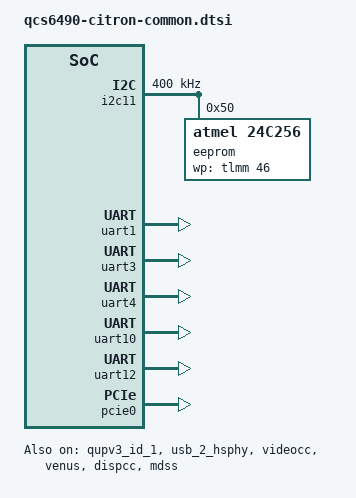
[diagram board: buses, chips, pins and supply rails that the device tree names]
// SPDX-License-Identifier: BSD-3-Clause
/*
 * Hardware and SoC enablement common to the Citron carriers, which derive from one
 * reference design. The SOM dtsi leaves everything off; this is what the carriers
 * turn on.
 */

/* GENI needs this to program any SE the bootloader left alone, else -EINVAL. */
&qupv3_id_1 {
	firmware-name = "qcom/qcs6490/qupv3fw.elf";
	status = "okay";
};

&i2c11 {
	clock-frequency = <400000>;
	status = "okay";

	eeprom@50 {
		compatible = "atmel,24c256";
		reg = <0x50>;
		pagesize = <64>;
		wp-gpios = <&tlmm 46 GPIO_ACTIVE_HIGH>;
		pinctrl-names = "default";
		pinctrl-0 = <&eeprom_wc_state>;
	};
};

/* Carrier UARTs: uart1 gpio4-7, uart3 12-15, uart4 16-19, uart10 40-43, uart12 48-51. */
&uart1 {
	status = "okay";
};

&uart3 {
	status = "okay";
};

&uart4 {
	status = "okay";
};

&uart10 {
	status = "okay";
};

/* gpio48-51 REQUIRE the matching XBL/TZ release, else gpiochip bringup hangs. */
&uart12 {
	status = "okay";
};

&pcie0 {
	perst-gpios = <&tlmm 86 GPIO_ACTIVE_LOW>;
	pinctrl-names = "default";
	pinctrl-0 = <&pcie0_reset_n>, <&pcie0_clkreq_n>;

	/*
	 * The stock one-endpoint map gives the NICs behind the switch SID 0x1c00 with
	 * no domain (SMMU TF faults), while per-device 0x1c02 aborts in
	 * qcom_smmu_write_s2cr(). The switch has no ACS so they share a group anyway:
	 * collapse every RID onto the known-good 0x1c00.
	 */
	iommu-map = <0x0 &apps_smmu 0x1c00 0x1>;
	iommu-map-mask = <0x0>;

	status = "okay";
};

/* No Type-C mux here and the SS lanes arrive at a fixed orientation. */
&usb_1_qmpphy {
	/delete-property/ orientation-switch;
};

&usb_2_hsphy {
	vdda-pll-supply = <&vreg_l10c_0p88>;
	vdda18-supply = <&vreg_l1c_1p8>;
	vdda33-supply = <&vreg_l2b_3p072>;
	status = "okay";
};

/* Venus HW codec: videocc is off on the SOM, the codec off in sc7280. */
&videocc {
	status = "okay";
};

&venus {
	status = "okay";
};

/*
 * DISP0 (DSI0). The panel comes from the board's *-panel-*.dtso when one is fitted;
 * dispcc/mdss stay on regardless so the DPU still registers a writeback-only card0,
 * which the GLES-only ML gst elements need. The pin states only hold RST/BL_EN
 * de-asserted - the bridge itself sequences the panel over I2C.
 */
&dispcc {
	status = "okay";
};

&mdss {
	status = "okay";
};

/*
 * There is no Type-C connector here, and the qmpphy aux_bridge would make DP defer
 * forever, costing the DPU its card0. Done here because overlays cannot delete
 * base properties.
 */
&mdss_dp_out {
	/delete-property/ remote-endpoint;
};

&usb_dp_qmpphy_dp_in {
	/delete-property/ remote-endpoint;
};
